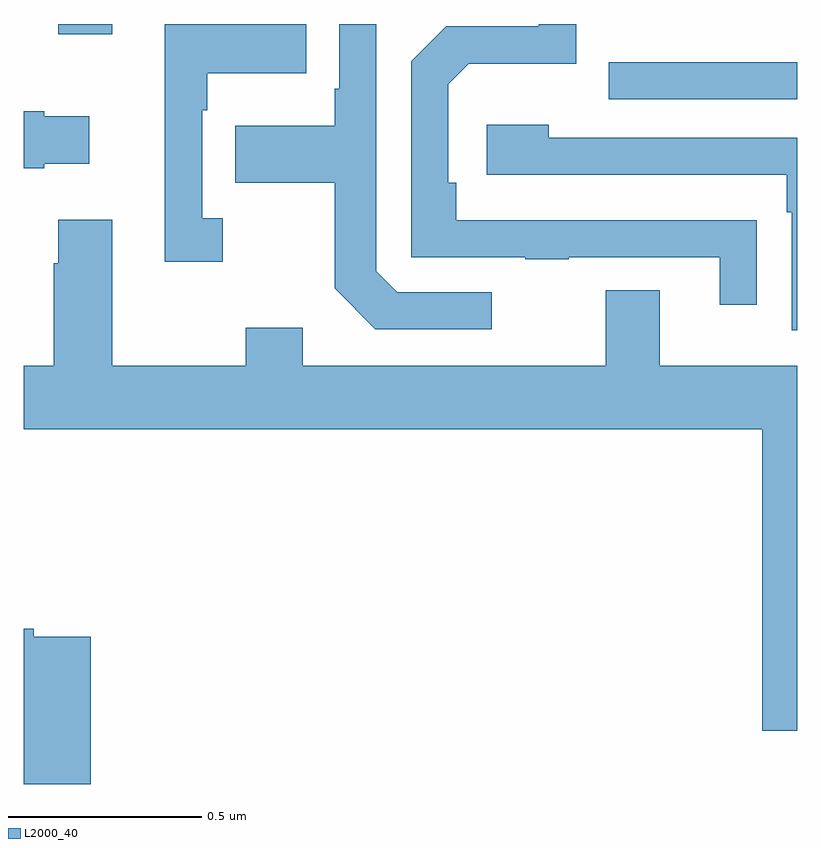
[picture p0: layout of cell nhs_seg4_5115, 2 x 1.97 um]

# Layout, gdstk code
import gdstk
lib = gdstk.Library(unit=1e-6, precision=1e-09)
def R(c, l, rs):  # rectangles x0, y0, x1, y1
    for r in rs: c.add(gdstk.rectangle(r[:2], r[2:], *l))
def P(c, l, *ps):  # polygons
    for p in ps: c.add(gdstk.Polygon(p, *l))
L2000_40 = (2000, 40)

nhs_seg4_5115 = lib.new_cell('nhs_seg4_5115')
R(nhs_seg4_5115, L2000_40, [(175.513,765.705,176,765.801), (174.089,765.873,174.229,765.9)])
P(nhs_seg4_5115, L2000_40, [(175.895,765.392),(175.793,765.392),(175.793,765.393),(175.118,765.393),(175.118,765.49),(175.098,765.49),(175.098,765.744),(175.151,765.797),(175.428,765.797),(175.428,765.9),(175.332,765.9),(175.332,765.894),(175.092,765.894),(175.002,765.804),(175.002,765.297),(175.297,765.297),(175.297,765.292),(175.409,765.292),(175.409,765.297),(175.799,765.297),(175.799,765.174),(175.895,765.174)],
  [(175.21,765.207),(174.966,765.207),(174.912,765.261),(174.912,765.9),(174.816,765.9),(174.816,765.733),(174.804,765.733),(174.804,765.637),(174.547,765.637),(174.547,765.49),(174.804,765.49),(174.804,765.217),(174.909,765.111),(175.21,765.111)],
  [(174.514,765.398),(174.462,765.398),(174.462,765.677),(174.475,765.677),(174.475,765.773),(174.731,765.773),(174.731,765.9),(174.365,765.9),(174.365,765.285),(174.514,765.285)],
  [(174.053,765.539),(174.169,765.539),(174.169,765.661),(174.053,765.661),(174.053,765.674),(174,765.674),(174,765.527),(174.053,765.527)],
  [(176,765.606),(175.358,765.606),(175.358,765.64),(175.197,765.64),(175.197,765.51),(175.973,765.51),(175.973,765.413),(175.986,765.413),(175.986,765.108),(176,765.108)],
  [(176,765.016),(175.645,765.016),(175.645,765.211),(175.505,765.211),(175.505,765.016),(174.721,765.016),(174.721,765.115),(174.574,765.115),(174.574,765.016),(174.229,765.016),(174.229,765.394),(174.089,765.394),(174.089,765.281),(174.077,765.281),(174.077,765.016),(174,765.016),(174,764.852),(175.91,764.852),(175.91,764.073),(176,764.073)],
  [(174.173,764.316),(174.026,764.316),(174.026,764.336),(174,764.336),(174,763.935),(174.173,763.935)])

lib.write_gds('nhs_seg4_5115.gds')
